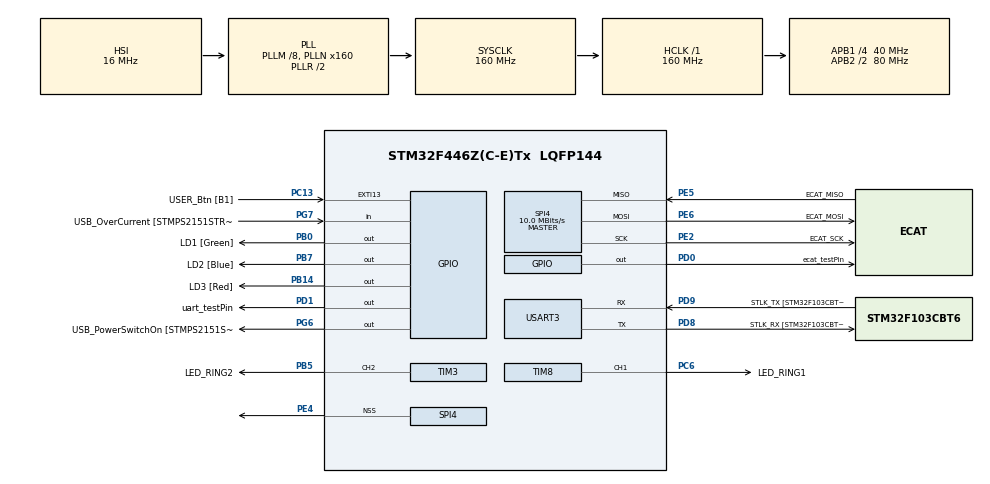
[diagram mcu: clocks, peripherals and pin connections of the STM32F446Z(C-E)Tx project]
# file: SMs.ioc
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Dma.Request0=TIM8_CH1
Dma.Request1=TIM3_CH2
Dma.Request2=SPI4_RX
Dma.Request3=SPI4_TX
Dma.SPI4_RX.2.Direction=DMA_PERIPH_TO_MEMORY
Dma.SPI4_RX.2.FIFOMode=DMA_FIFOMODE_DISABLE
Dma.SPI4_RX.2.Instance=DMA2_Stream0
Dma.SPI4_RX.2.MemDataAlignment=DMA_MDATAALIGN_BYTE
Dma.SPI4_RX.2.MemInc=DMA_MINC_ENABLE
Dma.SPI4_RX.2.Mode=DMA_NORMAL
Dma.SPI4_RX.2.PeriphDataAlignment=DMA_PDATAALIGN_BYTE
Dma.SPI4_RX.2.PeriphInc=DMA_PINC_DISABLE
Dma.SPI4_RX.2.Priority=DMA_PRIORITY_LOW
Dma.SPI4_TX.3.Direction=DMA_MEMORY_TO_PERIPH
Dma.SPI4_TX.3.FIFOMode=DMA_FIFOMODE_DISABLE
Dma.SPI4_TX.3.Instance=DMA2_Stream1
Dma.SPI4_TX.3.MemDataAlignment=DMA_MDATAALIGN_BYTE
Dma.SPI4_TX.3.MemInc=DMA_MINC_ENABLE
Dma.SPI4_TX.3.Mode=DMA_NORMAL
Dma.SPI4_TX.3.PeriphDataAlignment=DMA_PDATAALIGN_BYTE
Dma.SPI4_TX.3.PeriphInc=DMA_PINC_DISABLE
Dma.SPI4_TX.3.Priority=DMA_PRIORITY_LOW
Dma.TIM3_CH2.1.Direction=DMA_MEMORY_TO_PERIPH
Dma.TIM3_CH2.1.FIFOMode=DMA_FIFOMODE_DISABLE
Dma.TIM3_CH2.1.Instance=DMA1_Stream5
Dma.TIM3_CH2.1.MemDataAlignment=DMA_MDATAALIGN_HALFWORD
Dma.TIM3_CH2.1.MemInc=DMA_MINC_ENABLE
Dma.TIM3_CH2.1.Mode=DMA_NORMAL
Dma.TIM3_CH2.1.PeriphDataAlignment=DMA_PDATAALIGN_HALFWORD
Dma.TIM3_CH2.1.PeriphInc=DMA_PINC_DISABLE
Dma.TIM3_CH2.1.Priority=DMA_PRIORITY_MEDIUM
Dma.TIM8_CH1.0.Direction=DMA_MEMORY_TO_PERIPH
Dma.TIM8_CH1.0.FIFOMode=DMA_FIFOMODE_DISABLE
Dma.TIM8_CH1.0.Instance=DMA2_Stream2
Dma.TIM8_CH1.0.MemDataAlignment=DMA_MDATAALIGN_HALFWORD
Dma.TIM8_CH1.0.MemInc=DMA_MINC_ENABLE
Dma.TIM8_CH1.0.Mode=DMA_NORMAL
Dma.TIM8_CH1.0.PeriphDataAlignment=DMA_PDATAALIGN_HALFWORD
Dma.TIM8_CH1.0.PeriphInc=DMA_PINC_DISABLE
Dma.TIM8_CH1.0.Priority=DMA_PRIORITY_MEDIUM
FREERTOS.Tasks01=defaultTask,24,128,StartDefaultTask,Default,NULL,Dynamic,NULL,NULL
FREERTOS.configTIMER_QUEUE_LENGTH=20
FREERTOS.configTIMER_TASK_PRIORITY=40
FREERTOS.configTIMER_TASK_STACK_DEPTH=512
Mcu.Family=STM32F4
Mcu.Name=STM32F446Z(C-E)Tx
Mcu.Package=LQFP144
Mcu.UserConstants=COUNT_PERIOD_AT_40MHZ,5-1;COUNT_PERIOD_AT_80MHZ,100-1;COUNT_PERIOD_AT_160MHZ,200-1;PRESCALER_2,2-1
NVIC.DMA1_Stream5_IRQn=true\:5\:0\:false\:false\:true\:true\:false\:true
NVIC.DMA2_Stream0_IRQn=true\:5\:0\:false\:false\:true\:true\:false\:true
NVIC.DMA2_Stream1_IRQn=true\:5\:0\:false\:false\:true\:true\:false\:true
NVIC.DMA2_Stream2_IRQn=true\:5\:0\:false\:false\:true\:true\:false\:true
NVIC.PriorityGroup=NVIC_PRIORITYGROUP_4
NVIC.SPI4_IRQn=true\:5\:0\:false\:false\:true\:true\:true\:true
NVIC.TIM1_UP_TIM10_IRQn=true\:0\:0\:false\:false\:true\:false\:false\:true
NVIC.TIM3_IRQn=true\:5\:0\:false\:false\:true\:true\:true\:true
NVIC.TIM4_IRQn=true\:5\:0\:false\:false\:true\:true\:true\:true
NVIC.TIM5_IRQn=true\:5\:0\:false\:false\:true\:true\:true\:true
NVIC.TimeBase=TIM1_UP_TIM10_IRQn
NVIC.TimeBaseIP=TIM10
NVIC.USART3_IRQn=true\:5\:0\:false\:false\:true\:true\:true\:true
PA10.GPIO_Label=USB_ID
PA10.Signal=USB_OTG_FS_ID
PA11.GPIO_Label=USB_DM
PA11.Signal=USB_OTG_FS_DM
PA12.GPIO_Label=USB_DP
PA12.Signal=USB_OTG_FS_DP
PA13.GPIO_Label=TMS
PA13.Mode=Serial_Wire
PA13.Signal=SYS_JTMS-SWDIO
PA14.GPIO_Label=TCK
PA14.Mode=Serial_Wire
PA14.Signal=SYS_JTCK-SWCLK
PA8.GPIO_Label=USB_SOF [TP1]
PA8.Signal=USB_OTG_FS_SOF
PA9.GPIO_Label=USB_VBUS
PA9.Signal=USB_OTG_FS_VBUS
PB0.GPIO_Label=LD1 [Green]
PB0.Signal=GPIO_Output
PB14.GPIO_Label=LD3 [Red]
PB14.Signal=GPIO_Output
PB5.GPIO_Label=LED_RING2
PB5.GPIO_Speed=GPIO_SPEED_FREQ_MEDIUM
PB5.Signal=S_TIM3_CH2
PB7.GPIO_Label=LD2 [Blue]
PB7.Signal=GPIO_Output
PC13.GPIO_Label=USER_Btn [B1]
PC13.Signal=GPXTI13
PC14-OSC32_IN.Signal=RCC_OSC32_IN
PC15-OSC32_OUT.Signal=RCC_OSC32_OUT
PC6.GPIO_Label=LED_RING1
PC6.GPIO_Speed=GPIO_SPEED_FREQ_MEDIUM
PC6.Signal=S_TIM8_CH1
PD0.GPIO_Label=ecat_testPin
PD0.GPIO_Speed=GPIO_SPEED_FREQ_MEDIUM
PD0.Signal=GPIO_Output
PD1.GPIO_Label=uart_testPin
PD1.GPIO_Speed=GPIO_SPEED_FREQ_MEDIUM
PD1.Signal=GPIO_Output
PD8.GPIO_Label=STLK_RX [STM32F103CBT6_PA3]
PD8.GPIO_ModeDefaultPP=GPIO_MODE_AF_OD
PD8.GPIO_PuPd=GPIO_PULLUP
PD8.Mode=Asynchronous
PD8.Signal=USART3_TX
PD9.GPIO_Label=STLK_TX [STM32F103CBT6_PA2]
PD9.GPIO_ModeDefaultPP=GPIO_MODE_AF_OD
PD9.GPIO_PuPd=GPIO_PULLUP
PD9.Mode=Asynchronous
PD9.Signal=USART3_RX
PE2.GPIO_Label=ECAT_SCK
PE2.GPIO_Speed=GPIO_SPEED_FREQ_HIGH
PE2.Mode=Full_Duplex_Master
PE2.Signal=SPI4_SCK
PE4.GPIO_PuPd=GPIO_NOPULL
PE4.GPIO_Speed=GPIO_SPEED_FREQ_MEDIUM
PE4.Mode=NSS_Signal_Hard_Output
PE4.Signal=SPI4_NSS
PE5.GPIO_Label=ECAT_MISO
PE5.GPIO_Speed=GPIO_SPEED_FREQ_MEDIUM
PE5.Mode=Full_Duplex_Master
PE5.Signal=SPI4_MISO
PE6.GPIO_Label=ECAT_MOSI
PE6.GPIO_Speed=GPIO_SPEED_FREQ_MEDIUM
PE6.Mode=Full_Duplex_Master
PE6.Signal=SPI4_MOSI
PG6.GPIO_Label=USB_PowerSwitchOn [STMPS2151STR_EN]
PG6.Signal=GPIO_Output
PG7.GPIO_Label=USB_OverCurrent [STMPS2151STR_FAULT]
PG7.Signal=GPIO_Input
PH0-OSC_IN.GPIO_Label=MCO [STM32F103CBT6_PA8]
PH0-OSC_IN.Signal=RCC_OSC_IN
PH1-OSC_OUT.Signal=RCC_OSC_OUT
ProjectManager.HeapSize=0x200
ProjectManager.StackSize=0x400
ProjectManager.TargetToolchain=STM32CubeIDE
RCC.48MHZClocksFreq_Value=24000000
RCC.AHBFreq_Value=160000000
RCC.APB1CLKDivider=RCC_HCLK_DIV4
RCC.APB1Freq_Value=40000000
RCC.APB1TimFreq_Value=80000000
RCC.APB2CLKDivider=RCC_HCLK_DIV2
RCC.APB2Freq_Value=80000000
RCC.APB2TimFreq_Value=160000000
RCC.CortexFreq_Value=160000000
RCC.HCLKFreq_Value=160000000
RCC.HSE_VALUE=8000000
RCC.HSI_VALUE=16000000
RCC.LSE_VALUE=32768
RCC.PLLM=8
RCC.PLLMUL=RCC_PLL_MUL9
RCC.PLLN=160
RCC.PRESCALERUSB=RCC_USBCLKSOURCE_PLL_DIV1_5
RCC.SYSCLKFreq_VALUE=160000000
RCC.SYSCLKSource=RCC_SYSCLKSOURCE_PLLRCLK
RCC.SYSCLKSourceVirtual=RCC_SYSCLKSOURCE_PLLCLK
RCC.USBFreq_Value=160000000
RCC.VCOOutputFreq_Value=320000000
SH.S_TIM3_CH2.0=TIM3_CH2,PWM Generation2 CH2
SH.S_TIM8_CH1.0=TIM8_CH1,PWM Generation1 CH1
SPI4.BaudRatePrescaler=SPI_BAUDRATEPRESCALER_8
SPI4.CLKPhase=SPI_PHASE_1EDGE
SPI4.CLKPolarity=SPI_POLARITY_LOW
SPI4.CalculateBaudRate=10.0 MBits/s
SPI4.Direction=SPI_DIRECTION_2LINES
SPI4.Mode=SPI_MODE_MASTER
SPI4.VirtualNSS=VM_NSSHARD
SPI4.VirtualType=VM_MASTER
TIM3.Channel-PWM\ Generation2\ CH2=TIM_CHANNEL_2
TIM3.Period=COUNT_PERIOD_AT_80MHZ
TIM4.AutoReloadPreload=TIM_AUTORELOAD_PRELOAD_ENABLE
TIM4.Period=0
TIM4.Prescaler=1000
TIM5.Period=50000
TIM5.Prescaler=8000
TIM8.Channel-PWM\ Generation1\ CH1=TIM_CHANNEL_1
TIM8.ClockDivision=TIM_CLOCKDIVISION_DIV1
TIM8.Period=COUNT_PERIOD_AT_80MHZ
TIM8.Prescaler=PRESCALER_2
USART3.VirtualMode=VM_ASYNC
VP_FREERTOS_VS_CMSIS_V2.Mode=CMSIS_V2
VP_SYS_VS_tim10.Mode=TIM10
VP_TIM3_VS_ClockSourceINT.Mode=Internal
VP_TIM4_VS_ClockSourceINT.Mode=Internal
VP_TIM5_VS_ClockSourceINT.Mode=Internal
VP_TIM8_VS_ClockSourceINT.Mode=Internal
board=NUCLEO-F446ZE

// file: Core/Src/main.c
/* USER CODE BEGIN Header */
/**
  ******************************************************************************
  * @file           : main.c
  * @brief          : Main program body
  ******************************************************************************
  * @attention
  *
  * <h2><center>&copy; Copyright (c) 2020 STMicroelectronics.
  * All rights reserved.</center></h2>
  *
  * This software component is licensed by ST under BSD 3-Clause license,
  * the "License"; You may not use this file except in compliance with the
  * License. You may obtain a copy of the License at:
  *                        opensource.org/licenses/BSD-3-Clause
  *
  ******************************************************************************
  */
/* USER CODE END Header */

#include "main.h"
#include "cmsis_os.h"

/* USER CODE BEGIN Includes */
//#include "AxisCommHub_definitions.h"

/* USER CODE END Includes */

/* USER CODE BEGIN PD */
extern void addThreads(void);
extern void initOwApp(void);
/* USER CODE END PD */

SPI_HandleTypeDef hspi4;
DMA_HandleTypeDef hdma_spi4_rx;
DMA_HandleTypeDef hdma_spi4_tx;

TIM_HandleTypeDef htim3;
TIM_HandleTypeDef htim4;
TIM_HandleTypeDef htim5;
TIM_HandleTypeDef htim8;
DMA_HandleTypeDef hdma_tim3_ch2;
DMA_HandleTypeDef hdma_tim8_ch1;

UART_HandleTypeDef huart3;

/* Definitions for defaultTask */
osThreadId_t defaultTaskHandle;
const osThreadAttr_t defaultTask_attributes = {
  .name = "defaultTask",
  .priority = (osPriority_t) osPriorityNormal,
  .stack_size = 128 * 4
};
/* USER CODE BEGIN PV */
extern void timeoutSMCallback_ecat(void * argument);
/* USER CODE END PV */

void SystemClock_Config(void);
static void MX_GPIO_Init(void);
static void MX_DMA_Init(void);
static void MX_TIM3_Init(void);
static void MX_SPI4_Init(void);
static void MX_TIM8_Init(void);
static void MX_TIM4_Init(void);
static void MX_TIM5_Init(void);
static void MX_USART3_UART_Init(void);
void StartDefaultTask(void *argument);

/* USER CODE BEGIN PFP */
uint32_t tempmain=0;
/* USER CODE END PFP */

int main(void)
{

  /* MCU Configuration--------------------------------------------------------*/

  /* Reset of all peripherals, Initializes the Flash interface and the Systick. */
  HAL_Init();

  /* Configure the system clock */
  SystemClock_Config();

  /* Initialize all configured peripherals */
  MX_GPIO_Init();
  MX_DMA_Init();
  MX_TIM3_Init();
  MX_SPI4_Init();
  MX_TIM8_Init();
  MX_TIM4_Init();
  MX_TIM5_Init();
  MX_USART3_UART_Init();
  /* USER CODE BEGIN 2 */
  HAL_StatusTypeDef status;
  //status = HAL_TIM_Base_Start(&htim4);
  //HAL_TIM_Base_Stop(&htim5);
  __HAL_TIM_CLEAR_IT(&htim5,TIM_IT_UPDATE);
  //__HAL_TIM_CLEAR_FLAG(&htim5,TIM_FLAG_UPDATE);
  htim5.Instance->CNT = 0;

  /* USER CODE END 2 */

  /* Init scheduler */
  osKernelInitialize();

  /* Create the thread(s) */
  /* creation of defaultTask */
  defaultTaskHandle = osThreadNew(StartDefaultTask, NULL, &defaultTask_attributes);

  /* USER CODE BEGIN RTOS_THREADS */
  /* add threads, ... */
  addThreads();
  /* USER CODE END RTOS_THREADS */

  /* Start scheduler */
  osKernelStart();

  /* We should never get here as control is now taken by the scheduler */
  /* Infinite loop */
  while (1)
  {

  }
}

void SystemClock_Config(void)
{
  RCC_OscInitTypeDef RCC_OscInitStruct = {0};
  RCC_ClkInitTypeDef RCC_ClkInitStruct = {0};

  /** Configure the main internal regulator output voltage
  */
  __HAL_RCC_PWR_CLK_ENABLE();
  __HAL_PWR_VOLTAGESCALING_CONFIG(PWR_REGULATOR_VOLTAGE_SCALE1);
  /** Initializes the CPU, AHB and APB busses clocks
  */
  RCC_OscInitStruct.OscillatorType = RCC_OSCILLATORTYPE_HSI;
  RCC_OscInitStruct.HSIState = RCC_HSI_ON;
  RCC_OscInitStruct.HSICalibrationValue = RCC_HSICALIBRATION_DEFAULT;
  RCC_OscInitStruct.PLL.PLLState = RCC_PLL_ON;
  RCC_OscInitStruct.PLL.PLLSource = RCC_PLLSOURCE_HSI;
  RCC_OscInitStruct.PLL.PLLM = 8;
  RCC_OscInitStruct.PLL.PLLN = 160;
  RCC_OscInitStruct.PLL.PLLP = RCC_PLLP_DIV2;
  RCC_OscInitStruct.PLL.PLLQ = 2;
  RCC_OscInitStruct.PLL.PLLR = 2;
  if (HAL_RCC_OscConfig(&RCC_OscInitStruct) != HAL_OK)
  {
    Error_Handler();
  }
  /** Initializes the CPU, AHB and APB busses clocks
  */
  RCC_ClkInitStruct.ClockType = RCC_CLOCKTYPE_HCLK|RCC_CLOCKTYPE_SYSCLK
                              |RCC_CLOCKTYPE_PCLK1|RCC_CLOCKTYPE_PCLK2;
  RCC_ClkInitStruct.SYSCLKSource = RCC_SYSCLKSOURCE_PLLRCLK;
  RCC_ClkInitStruct.AHBCLKDivider = RCC_SYSCLK_DIV1;
  RCC_ClkInitStruct.APB1CLKDivider = RCC_HCLK_DIV4;
  RCC_ClkInitStruct.APB2CLKDivider = RCC_HCLK_DIV2;

  if (HAL_RCC_ClockConfig(&RCC_ClkInitStruct, FLASH_LATENCY_5) != HAL_OK)
  {
    Error_Handler();
  }
}

static void MX_SPI4_Init(void)
{

  /* SPI4 parameter configuration*/
  hspi4.Instance = SPI4;
  hspi4.Init.Mode = SPI_MODE_MASTER;
  hspi4.Init.Direction = SPI_DIRECTION_2LINES;
  hspi4.Init.DataSize = SPI_DATASIZE_8BIT;
  hspi4.Init.CLKPolarity = SPI_POLARITY_LOW;
  hspi4.Init.CLKPhase = SPI_PHASE_1EDGE;
  hspi4.Init.NSS = SPI_NSS_HARD_OUTPUT;
  hspi4.Init.BaudRatePrescaler = SPI_BAUDRATEPRESCALER_8;
  hspi4.Init.FirstBit = SPI_FIRSTBIT_MSB;
  hspi4.Init.TIMode = SPI_TIMODE_DISABLE;
  hspi4.Init.CRCCalculation = SPI_CRCCALCULATION_DISABLE;
  hspi4.Init.CRCPolynomial = 10;
  if (HAL_SPI_Init(&hspi4) != HAL_OK)
  {
    Error_Handler();
  }

}

static void MX_TIM3_Init(void)
{

  TIM_ClockConfigTypeDef sClockSourceConfig = {0};
  TIM_MasterConfigTypeDef sMasterConfig = {0};
  TIM_OC_InitTypeDef sConfigOC = {0};

  htim3.Instance = TIM3;
  htim3.Init.Prescaler = 0;
  htim3.Init.CounterMode = TIM_COUNTERMODE_UP;
  htim3.Init.Period = COUNT_PERIOD_AT_80MHZ;
  htim3.Init.ClockDivision = TIM_CLOCKDIVISION_DIV1;
  htim3.Init.AutoReloadPreload = TIM_AUTORELOAD_PRELOAD_DISABLE;
  if (HAL_TIM_Base_Init(&htim3) != HAL_OK)
  {
    Error_Handler();
  }
  sClockSourceConfig.ClockSource = TIM_CLOCKSOURCE_INTERNAL;
  if (HAL_TIM_ConfigClockSource(&htim3, &sClockSourceConfig) != HAL_OK)
  {
    Error_Handler();
  }
  if (HAL_TIM_PWM_Init(&htim3) != HAL_OK)
  {
    Error_Handler();
  }
  sMasterConfig.MasterOutputTrigger = TIM_TRGO_RESET;
  sMasterConfig.MasterSlaveMode = TIM_MASTERSLAVEMODE_DISABLE;
  if (HAL_TIMEx_MasterConfigSynchronization(&htim3, &sMasterConfig) != HAL_OK)
  {
    Error_Handler();
  }
  sConfigOC.OCMode = TIM_OCMODE_PWM1;
  sConfigOC.Pulse = 0;
  sConfigOC.OCPolarity = TIM_OCPOLARITY_HIGH;
  sConfigOC.OCFastMode = TIM_OCFAST_DISABLE;
  if (HAL_TIM_PWM_ConfigChannel(&htim3, &sConfigOC, TIM_CHANNEL_2) != HAL_OK)
  {
    Error_Handler();
  }
  HAL_TIM_MspPostInit(&htim3);

}

static void MX_TIM4_Init(void)
{

  TIM_ClockConfigTypeDef sClockSourceConfig = {0};
  TIM_MasterConfigTypeDef sMasterConfig = {0};

  htim4.Instance = TIM4;
  htim4.Init.Prescaler = 1000;
  htim4.Init.CounterMode = TIM_COUNTERMODE_UP;
  htim4.Init.Period = 0;
  htim4.Init.ClockDivision = TIM_CLOCKDIVISION_DIV1;
  htim4.Init.AutoReloadPreload = TIM_AUTORELOAD_PRELOAD_ENABLE;
  if (HAL_TIM_Base_Init(&htim4) != HAL_OK)
  {
    Error_Handler();
  }
  sClockSourceConfig.ClockSource = TIM_CLOCKSOURCE_INTERNAL;
  if (HAL_TIM_ConfigClockSource(&htim4, &sClockSourceConfig) != HAL_OK)
  {
    Error_Handler();
  }
  sMasterConfig.MasterOutputTrigger = TIM_TRGO_RESET;
  sMasterConfig.MasterSlaveMode = TIM_MASTERSLAVEMODE_DISABLE;
  if (HAL_TIMEx_MasterConfigSynchronization(&htim4, &sMasterConfig) != HAL_OK)
  {
    Error_Handler();
  }

}

static void MX_TIM5_Init(void)
{

  TIM_ClockConfigTypeDef sClockSourceConfig = {0};
  TIM_MasterConfigTypeDef sMasterConfig = {0};

  htim5.Instance = TIM5;
  htim5.Init.Prescaler = 8000;
  htim5.Init.CounterMode = TIM_COUNTERMODE_UP;
  htim5.Init.Period = 50000;
  htim5.Init.ClockDivision = TIM_CLOCKDIVISION_DIV1;
  htim5.Init.AutoReloadPreload = TIM_AUTORELOAD_PRELOAD_DISABLE;
  if (HAL_TIM_Base_Init(&htim5) != HAL_OK)
  {
    Error_Handler();
  }
  sClockSourceConfig.ClockSource = TIM_CLOCKSOURCE_INTERNAL;
  if (HAL_TIM_ConfigClockSource(&htim5, &sClockSourceConfig) != HAL_OK)
  {
    Error_Handler();
  }
  sMasterConfig.MasterOutputTrigger = TIM_TRGO_RESET;
  sMasterConfig.MasterSlaveMode = TIM_MASTERSLAVEMODE_DISABLE;
  if (HAL_TIMEx_MasterConfigSynchronization(&htim5, &sMasterConfig) != HAL_OK)
  {
    Error_Handler();
  }

}

static void MX_TIM8_Init(void)
{

  TIM_ClockConfigTypeDef sClockSourceConfig = {0};
  TIM_MasterConfigTypeDef sMasterConfig = {0};
  TIM_OC_InitTypeDef sConfigOC = {0};
  TIM_BreakDeadTimeConfigTypeDef sBreakDeadTimeConfig = {0};

  htim8.Instance = TIM8;
  htim8.Init.Prescaler = PRESCALER_2;
  htim8.Init.CounterMode = TIM_COUNTERMODE_UP;
  htim8.Init.Period = COUNT_PERIOD_AT_80MHZ;
  htim8.Init.ClockDivision = TIM_CLOCKDIVISION_DIV1;
  htim8.Init.RepetitionCounter = 0;
  htim8.Init.AutoReloadPreload = TIM_AUTORELOAD_PRELOAD_DISABLE;
  if (HAL_TIM_Base_Init(&htim8) != HAL_OK)
  {
    Error_Handler();
  }
  sClockSourceConfig.ClockSource = TIM_CLOCKSOURCE_INTERNAL;
  if (HAL_TIM_ConfigClockSource(&htim8, &sClockSourceConfig) != HAL_OK)
  {
    Error_Handler();
  }
  if (HAL_TIM_PWM_Init(&htim8) != HAL_OK)
  {
    Error_Handler();
  }
  sMasterConfig.MasterOutputTrigger = TIM_TRGO_RESET;
  sMasterConfig.MasterSlaveMode = TIM_MASTERSLAVEMODE_DISABLE;
  if (HAL_TIMEx_MasterConfigSynchronization(&htim8, &sMasterConfig) != HAL_OK)
  {
    Error_Handler();
  }
  sConfigOC.OCMode = TIM_OCMODE_PWM1;
  sConfigOC.Pulse = 0;
  sConfigOC.OCPolarity = TIM_OCPOLARITY_HIGH;
  sConfigOC.OCNPolarity = TIM_OCNPOLARITY_HIGH;
  sConfigOC.OCFastMode = TIM_OCFAST_DISABLE;
  sConfigOC.OCIdleState = TIM_OCIDLESTATE_RESET;
  sConfigOC.OCNIdleState = TIM_OCNIDLESTATE_RESET;
  if (HAL_TIM_PWM_ConfigChannel(&htim8, &sConfigOC, TIM_CHANNEL_1) != HAL_OK)
  {
    Error_Handler();
  }
  sBreakDeadTimeConfig.OffStateRunMode = TIM_OSSR_DISABLE;
  sBreakDeadTimeConfig.OffStateIDLEMode = TIM_OSSI_DISABLE;
  sBreakDeadTimeConfig.LockLevel = TIM_LOCKLEVEL_OFF;
  sBreakDeadTimeConfig.DeadTime = 0;
  sBreakDeadTimeConfig.BreakState = TIM_BREAK_DISABLE;
  sBreakDeadTimeConfig.BreakPolarity = TIM_BREAKPOLARITY_HIGH;
  sBreakDeadTimeConfig.AutomaticOutput = TIM_AUTOMATICOUTPUT_DISABLE;
  if (HAL_TIMEx_ConfigBreakDeadTime(&htim8, &sBreakDeadTimeConfig) != HAL_OK)
  {
    Error_Handler();
  }
  HAL_TIM_MspPostInit(&htim8);

}

static void MX_USART3_UART_Init(void)
{

  huart3.Instance = USART3;
  huart3.Init.BaudRate = 115200;
  huart3.Init.WordLength = UART_WORDLENGTH_8B;
  huart3.Init.StopBits = UART_STOPBITS_1;
  huart3.Init.Parity = UART_PARITY_NONE;
  huart3.Init.Mode = UART_MODE_TX_RX;
  huart3.Init.HwFlowCtl = UART_HWCONTROL_NONE;
  huart3.Init.OverSampling = UART_OVERSAMPLING_16;
  if (HAL_UART_Init(&huart3) != HAL_OK)
  {
    Error_Handler();
  }

}

static void MX_DMA_Init(void)
{

  /* DMA controller clock enable */
  __HAL_RCC_DMA2_CLK_ENABLE();
  __HAL_RCC_DMA1_CLK_ENABLE();

  /* DMA interrupt init */
  /* DMA1_Stream5_IRQn interrupt configuration */
  HAL_NVIC_SetPriority(DMA1_Stream5_IRQn, 5, 0);
  HAL_NVIC_EnableIRQ(DMA1_Stream5_IRQn);
  /* DMA2_Stream0_IRQn interrupt configuration */
  HAL_NVIC_SetPriority(DMA2_Stream0_IRQn, 5, 0);
  HAL_NVIC_EnableIRQ(DMA2_Stream0_IRQn);
  /* DMA2_Stream1_IRQn interrupt configuration */
  HAL_NVIC_SetPriority(DMA2_Stream1_IRQn, 5, 0);
  HAL_NVIC_EnableIRQ(DMA2_Stream1_IRQn);
  /* DMA2_Stream2_IRQn interrupt configuration */
  HAL_NVIC_SetPriority(DMA2_Stream2_IRQn, 5, 0);
  HAL_NVIC_EnableIRQ(DMA2_Stream2_IRQn);

}

static void MX_GPIO_Init(void)
{
  GPIO_InitTypeDef GPIO_InitStruct = {0};

  /* GPIO Ports Clock Enable */
  __HAL_RCC_GPIOE_CLK_ENABLE();
  __HAL_RCC_GPIOC_CLK_ENABLE();
  __HAL_RCC_GPIOH_CLK_ENABLE();
  __HAL_RCC_GPIOB_CLK_ENABLE();
  __HAL_RCC_GPIOD_CLK_ENABLE();
  __HAL_RCC_GPIOG_CLK_ENABLE();
  __HAL_RCC_GPIOA_CLK_ENABLE();

  /*Configure GPIO pin Output Level */
  HAL_GPIO_WritePin(GPIOB, LD1_Pin|LD3_Pin|LD2_Pin, GPIO_PIN_RESET);

  /*Configure GPIO pin Output Level */
  HAL_GPIO_WritePin(USB_PowerSwitchOn_GPIO_Port, USB_PowerSwitchOn_Pin, GPIO_PIN_RESET);

  /*Configure GPIO pin Output Level */
  HAL_GPIO_WritePin(GPIOD, ecat_testPin_Pin|uart_testPin_Pin, GPIO_PIN_RESET);

  /*Configure GPIO pin : USER_Btn_Pin */
  GPIO_InitStruct.Pin = USER_Btn_Pin;
  GPIO_InitStruct.Mode = GPIO_MODE_IT_RISING;
  GPIO_InitStruct.Pull = GPIO_NOPULL;
  HAL_GPIO_Init(USER_Btn_GPIO_Port, &GPIO_InitStruct);

  /*Configure GPIO pins : LD1_Pin LD3_Pin LD2_Pin */
  GPIO_InitStruct.Pin = LD1_Pin|LD3_Pin|LD2_Pin;
  GPIO_InitStruct.Mode = GPIO_MODE_OUTPUT_PP;
  GPIO_InitStruct.Pull = GPIO_NOPULL;
  GPIO_InitStruct.Speed = GPIO_SPEED_FREQ_LOW;
  HAL_GPIO_Init(GPIOB, &GPIO_InitStruct);

  /*Configure GPIO pin : USB_PowerSwitchOn_Pin */
  GPIO_InitStruct.Pin = USB_PowerSwitchOn_Pin;
  GPIO_InitStruct.Mode = GPIO_MODE_OUTPUT_PP;
  GPIO_InitStruct.Pull = GPIO_NOPULL;
  GPIO_InitStruct.Speed = GPIO_SPEED_FREQ_LOW;
  HAL_GPIO_Init(USB_PowerSwitchOn_GPIO_Port, &GPIO_InitStruct);

  /*Configure GPIO pin : USB_OverCurrent_Pin */
  GPIO_InitStruct.Pin = USB_OverCurrent_Pin;
  GPIO_InitStruct.Mode = GPIO_MODE_INPUT;
  GPIO_InitStruct.Pull = GPIO_NOPULL;
  HAL_GPIO_Init(USB_OverCurrent_GPIO_Port, &GPIO_InitStruct);

  /*Configure GPIO pins : USB_SOF_Pin USB_ID_Pin USB_DM_Pin USB_DP_Pin */
  GPIO_InitStruct.Pin = USB_SOF_Pin|USB_ID_Pin|USB_DM_Pin|USB_DP_Pin;
  GPIO_InitStruct.Mode = GPIO_MODE_AF_PP;
  GPIO_InitStruct.Pull = GPIO_NOPULL;
  GPIO_InitStruct.Speed = GPIO_SPEED_FREQ_VERY_HIGH;
  GPIO_InitStruct.Alternate = GPIO_AF10_OTG_FS;
  HAL_GPIO_Init(GPIOA, &GPIO_InitStruct);

  /*Configure GPIO pin : USB_VBUS_Pin */
  GPIO_InitStruct.Pin = USB_VBUS_Pin;
  GPIO_InitStruct.Mode = GPIO_MODE_INPUT;
  GPIO_InitStruct.Pull = GPIO_NOPULL;
  HAL_GPIO_Init(USB_VBUS_GPIO_Port, &GPIO_InitStruct);

  /*Configure GPIO pins : ecat_testPin_Pin uart_testPin_Pin */
  GPIO_InitStruct.Pin = ecat_testPin_Pin|uart_testPin_Pin;
  GPIO_InitStruct.Mode = GPIO_MODE_OUTPUT_PP;
  GPIO_InitStruct.Pull = GPIO_NOPULL;
  GPIO_InitStruct.Speed = GPIO_SPEED_FREQ_MEDIUM;
  HAL_GPIO_Init(GPIOD, &GPIO_InitStruct);

}

/* USER CODE BEGIN 4 */
/* *
 * @brief	This function helps debug the code over uart
 * */

int _write(int file, char *ptr, int len){
	int i=0;
	for (i=0; i<len; i++){
		ITM_SendChar((*ptr++));
	}
	return len;
}

/* USER CODE END 4 */

void StartDefaultTask(void *argument)
{
  for(;;)
  {
    osDelay(1);
  }
}

 /**
  * @brief  Period elapsed callback in non blocking mode
  * @note   This function is called  when TIM10 interrupt took place, inside
  * HAL_TIM_IRQHandler(). It makes a direct call to HAL_IncTick() to increment
  * a global variable "uwTick" used as application time base.
  * @param  htim : TIM handle
  * @retval None
  */
void HAL_TIM_PeriodElapsedCallback(TIM_HandleTypeDef *htim)
{
  /* USER CODE BEGIN Callback 0 */
	if (htim->Instance == TIM4) {
		uint8_t temp =0;
		temp++;
	}
	if (htim->Instance == TIM5) {
		uint8_t temp =0;
		temp++;
		//timeoutSMCallback_ecat(NULL);
	}
  /* USER CODE END Callback 0 */
  if (htim->Instance == TIM10) {
    HAL_IncTick();
  }
}

void Error_Handler(void)
{
}

/************************ (C) COPYRIGHT STMicroelectronics *****END OF FILE****/
